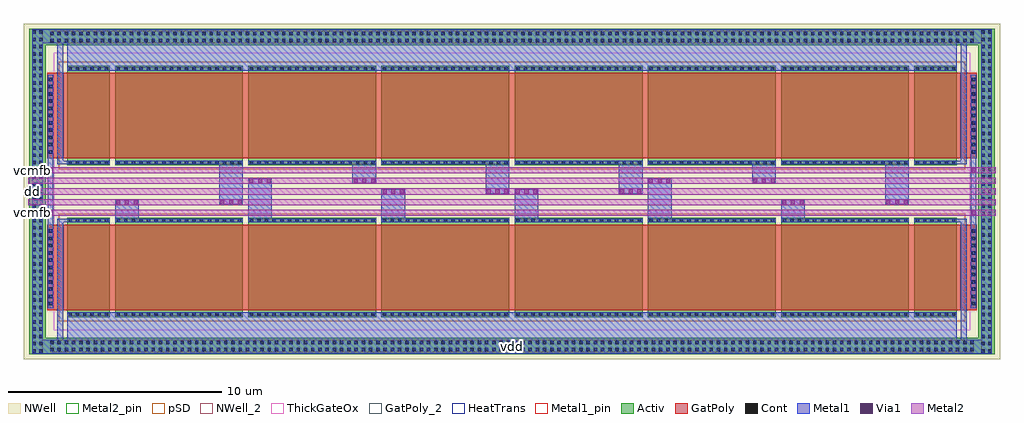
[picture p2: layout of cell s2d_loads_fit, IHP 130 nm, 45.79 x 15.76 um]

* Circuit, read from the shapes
.subckt s2d_loads_fit dd ln lp vcmfb vdd
XM1 vdd vcmfb vdd vdd sg13_hv_pmos w=2u l=4u m=4
XM2 lp vcmfb vdd vdd sg13_hv_pmos w=6u l=4u m=4
XM3 ln vcmfb vdd vdd sg13_hv_pmos w=6u l=4u m=4
XM4 dd vcmfb vdd vdd sg13_hv_pmos w=6u l=4u m=4
.ends

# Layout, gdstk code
from math import pi, radians
import gdstk
lib = gdstk.Library(unit=1e-6, precision=1e-09)
def R(c, l, rs):  # rectangles x0, y0, x1, y1
    for r in rs: c.add(gdstk.rectangle(r[:2], r[2:], *l))
def A(c, l, x, y, w, h, nx, ny, dx, dy):  # array of equal rectangles
    R(c, l, [(x+i*dx, y+j*dy, x+i*dx+w, y+j*dy+h) for i in range(nx) for j in range(ny)])
Activ = (1, 0)
GatPoly = (5, 0)
GatPoly_2 = (5, 2)
Cont = (6, 0)
Metal1 = (8, 0)
Metal1_pin = (8, 2)
Metal2 = (10, 0)
Metal2_pin = (10, 2)
pSD = (14, 0)
Via1 = (19, 0)
NWell = (31, 0)
NWell_2 = (31, 2)
ThickGateOx = (44, 0)
HeatTrans = (51, 0)

pmoshv_2 = lib.new_cell('pmosHV$2')
R(pmoshv_2, Activ, [(0,0,0.3,0.3), (0,0,4.68,6), (4.38,0,4.68,0.3)])
R(pmoshv_2, GatPoly, [(0.34,-0.18,4.34,6.18)])
R(pmoshv_2, GatPoly_2, [(0.34,-0.18,4.34,6.18)])
A(pmoshv_2, Cont, 0.07, 0.07, 0.16, 0.16, 1, 4, 0, 0.355)
A(pmoshv_2, Cont, 4.45, 0.07, 0.16, 0.16, 1, 4, 0, 0.355)
A(pmoshv_2, Cont, 0.07, 1.495, 0.16, 0.16, 1, 4, 0, 0.355)
A(pmoshv_2, Cont, 4.45, 1.495, 0.16, 0.16, 1, 4, 0, 0.355)
A(pmoshv_2, Cont, 0.07, 2.92, 0.16, 0.16, 1, 4, 0, 0.355)
A(pmoshv_2, Cont, 4.45, 2.92, 0.16, 0.16, 1, 4, 0, 0.355)
A(pmoshv_2, Cont, 0.07, 4.345, 0.16, 0.16, 1, 4, 0, 0.355)
A(pmoshv_2, Cont, 4.45, 4.345, 0.16, 0.16, 1, 4, 0, 0.355)
R(pmoshv_2, Cont, [(0.07,5.77,0.23,5.93), (4.45,5.77,4.61,5.93)])
R(pmoshv_2, Metal1, [(0.07,0,0.23,6), (4.45,0,4.61,6)])
R(pmoshv_2, Metal1_pin, [(0.07,0,0.23,6), (4.45,0,4.61,6)])
R(pmoshv_2, pSD, [(-0.18,-0.4,4.86,6.4)])
R(pmoshv_2, NWell, [(-0.62,-0.62,5.3,6.62)])
R(pmoshv_2, ThickGateOx, [(-0.62,-0.62,5.3,6.62)])
R(pmoshv_2, HeatTrans, [(0.34,-0.18,4.34,6.18)])
pmoshv_2.add(gdstk.Label('pmosHV', (2.34,3), layer=63, texttype=0))
pmoshv_2.add(gdstk.Label('pmos', (2.34,3), layer=51, texttype=0))

pmoshv_15 = lib.new_cell('pmosHV$15')
R(pmoshv_15, Activ, [(0,0,0.3,0.3), (0,0,4.68,2), (4.38,0,4.68,0.3)])
R(pmoshv_15, GatPoly, [(0.34,-0.18,4.34,2.18)])
R(pmoshv_15, GatPoly_2, [(0.34,-0.18,4.34,2.18)])
A(pmoshv_15, Cont, 0.07, 0.07, 0.16, 0.16, 1, 6, 0, 0.34)
A(pmoshv_15, Cont, 4.45, 0.07, 0.16, 0.16, 1, 6, 0, 0.34)
R(pmoshv_15, Metal1, [(0.07,0,0.23,2), (4.45,0,4.61,2)])
R(pmoshv_15, Metal1_pin, [(0.07,0,0.23,2), (4.45,0,4.61,2)])
R(pmoshv_15, pSD, [(-0.18,-0.4,4.86,2.4)])
R(pmoshv_15, NWell, [(-0.62,-0.62,5.3,2.62)])
R(pmoshv_15, ThickGateOx, [(-0.62,-0.62,5.3,2.62)])
R(pmoshv_15, HeatTrans, [(0.34,-0.18,4.34,2.18)])
pmoshv_15.add(gdstk.Label('pmosHV', (2.34,1), layer=63, texttype=0))
pmoshv_15.add(gdstk.Label('pmos', (2.34,1), layer=51, texttype=0))

s2d_loads_row = lib.new_cell('s2d_loads_row')
R(s2d_loads_row, GatPoly, [(-0.93,0.34,-0.18,4.34), (41.93,0.34,42.68,4.34)])
A(s2d_loads_row, Cont, -0.86, 0.56, 0.16, 0.16, 1, 11, 0, 0.34)
A(s2d_loads_row, Cont, 42.45, 0.56, 0.16, 0.16, 1, 11, 0, 0.34)
R(s2d_loads_row, Metal1, [(0,-1.65,41.75,0.23), (-0.91,0.43,-0.65,4.25), (42.4,0.43,42.66,4.25)])
R(s2d_loads_row, Metal1_pin, [(0,-1.65,41.75,-1.05), (-0.91,0.43,-0.65,4.25), (42.4,0.43,42.66,4.25)])
r = gdstk.Reference(pmoshv_2, (2.25,4.68), rotation=3*pi/2); r.repetition = gdstk.Repetition(1, 6, v1=(0,0), v2=(6.25,0)); s2d_loads_row.add(r)
s2d_loads_row.add(gdstk.Reference(pmoshv_15, (0,4.68), rotation=3*pi/2))
s2d_loads_row.add(gdstk.Reference(pmoshv_15, (39.75,4.68), rotation=3*pi/2))
s2d_loads_row.add(gdstk.Label('dummy', (1,2.34), layer=63, texttype=0))
s2d_loads_row.add(gdstk.Label('LP', (5.25,2.34), layer=63, texttype=0))
s2d_loads_row.add(gdstk.Label('LN', (11.5,2.34), layer=63, texttype=0))
s2d_loads_row.add(gdstk.Label('D', (17.75,2.34), layer=63, texttype=0))
s2d_loads_row.add(gdstk.Label('D', (24,2.34), layer=63, texttype=0))
s2d_loads_row.add(gdstk.Label('LN', (30.25,2.34), layer=63, texttype=0))
s2d_loads_row.add(gdstk.Label('LP', (36.5,2.34), layer=63, texttype=0))
s2d_loads_row.add(gdstk.Label('dummy', (40.75,2.34), layer=63, texttype=0))
s2d_loads_row.add(gdstk.Label('vdd', (20.875,-1.35), layer=8, texttype=25))
s2d_loads_row.add(gdstk.Label('vcmfb', (-0.78,2.34), layer=8, texttype=25))
s2d_loads_row.add(gdstk.Label('vcmfb', (42.53,2.34), layer=8, texttype=25))

ntap1_19_1 = lib.new_cell('ntap1$19$1')
R(ntap1_19_1, Activ, [(0,0,43.75,0.78)])
A(ntap1_19_1, Cont, 0.205, 0.14, 0.16, 0.16, 128, 2, 0.34, 0.34)
R(ntap1_19_1, Metal1, [(0.205,0.09,43.545,0.69)])
R(ntap1_19_1, Metal1_pin, [(0.205,0.09,43.545,0.69), (0.205,0.14,43.545,0.64)])
R(ntap1_19_1, NWell, [(-0.24,-0.24,43.99,1.02), (0,0,43.75,0.78)])
R(ntap1_19_1, NWell_2, [(0,0,43.75,0.78)])
ntap1_19_1.add(gdstk.Label('well', (21.875,0.01), layer=63, texttype=0))
ntap1_19_1.add(gdstk.Label('well', (21.875,0.01), layer=31, texttype=0))

ntap1_32 = lib.new_cell('ntap1$32')
R(ntap1_32, Activ, [(0,0,0.78,15.28)])
A(ntap1_32, Cont, 0.14, 0.08, 0.16, 0.16, 1, 45, 0, 0.34)
A(ntap1_32, Cont, 0.48, 0.08, 0.16, 0.16, 1, 45, 0, 0.34)
R(ntap1_32, Metal1, [(0.14,0.03,0.64,15.25)])
R(ntap1_32, Metal1_pin, [(0.14,0.03,0.64,15.25), (0.14,0.08,0.64,15.2)])
R(ntap1_32, NWell, [(-0.24,-0.24,1.02,15.52), (0,0,0.78,15.28)])
R(ntap1_32, NWell_2, [(0,0,0.78,15.28)])
ntap1_32.add(gdstk.Label('well', (0.39,0.01), layer=63, texttype=0))
ntap1_32.add(gdstk.Label('well', (0.39,0.01), layer=31, texttype=0))

s2d_loads_wiring = lib.new_cell('s2d_loads_wiring')
R(s2d_loads_wiring, Metal1, [(-1.64,-1.71,43.39,-1.65), (-1.24,-1.65,-0.695,-1.05), (42.445,-1.65,42.99,-1.05), (-0.47,-1.15,-0.18,4.61), (41.93,-1.15,42.22,4.61), (-0.91,4.15,-0.65,7.65), (42.4,4.15,42.66,7.65), (-0.47,4.45,0.1,4.61), (2.25,4.45,3.36,5.505), (8.5,4.45,9.61,6.505), (14.75,4.45,15.86,6.005), (21,4.45,22.11,6.005), (27.25,4.45,28.36,6.505), (33.5,4.45,34.61,5.505), (41.65,4.45,42.22,4.61), (7.14,5.295,8.25,7.35), (38.39,5.295,39.5,7.35), (19.64,5.795,20.75,7.35), (25.89,5.795,27,7.35), (13.39,6.295,14.5,7.35), (32.14,6.295,33.25,7.35), (-0.47,7.19,-0.18,12.95), (-0.47,7.19,0.1,7.35), (41.65,7.19,42.22,7.35), (41.93,7.19,42.22,12.95), (-1.24,12.85,-0.695,13.45), (42.445,12.85,42.99,13.45), (-1.64,13.45,43.39,13.51)])
A(s2d_loads_wiring, Via1, 2.3, 5.305, 0.19, 0.19, 3, 1, 0.41, 0)
A(s2d_loads_wiring, Via1, 7.19, 5.305, 0.19, 0.19, 3, 1, 0.41, 0)
A(s2d_loads_wiring, Via1, 33.55, 5.305, 0.19, 0.19, 3, 1, 0.41, 0)
A(s2d_loads_wiring, Via1, 38.44, 5.305, 0.19, 0.19, 3, 1, 0.41, 0)
A(s2d_loads_wiring, Via1, 14.8, 5.805, 0.19, 0.19, 3, 1, 0.41, 0)
A(s2d_loads_wiring, Via1, 19.69, 5.805, 0.19, 0.19, 3, 1, 0.41, 0)
A(s2d_loads_wiring, Via1, 21.05, 5.805, 0.19, 0.19, 3, 1, 0.41, 0)
A(s2d_loads_wiring, Via1, 25.94, 5.805, 0.19, 0.19, 3, 1, 0.41, 0)
A(s2d_loads_wiring, Via1, 8.55, 6.305, 0.19, 0.19, 3, 1, 0.41, 0)
A(s2d_loads_wiring, Via1, 13.44, 6.305, 0.19, 0.19, 3, 1, 0.41, 0)
A(s2d_loads_wiring, Via1, 27.3, 6.305, 0.19, 0.19, 3, 1, 0.41, 0)
A(s2d_loads_wiring, Via1, 32.19, 6.305, 0.19, 0.19, 3, 1, 0.41, 0)
R(s2d_loads_wiring, Via1, [(-0.875,4.805,-0.685,4.995), (42.435,4.805,42.625,4.995), (-0.875,6.805,-0.685,6.995), (42.435,6.805,42.625,6.995)])
R(s2d_loads_wiring, NWell, [(-2.02,-1.98,43.77,13.78)])
R(s2d_loads_wiring, ThickGateOx, [(-0.62,-0.62,42.37,12.42)])
s2d_loads_wiring.add(gdstk.FlexPath([(-1.665,4.9),(43.415,4.9)], 0.29, ends="extended", simple_path=True, layer=10, datatype=0))  # Metal2
s2d_loads_wiring.add(gdstk.FlexPath([(-1.665,5.4),(43.415,5.4)], 0.29, ends="extended", simple_path=True, layer=10, datatype=0))  # Metal2
s2d_loads_wiring.add(gdstk.FlexPath([(-1.665,5.9),(43.415,5.9)], 0.29, ends="extended", simple_path=True, layer=10, datatype=0))  # Metal2
s2d_loads_wiring.add(gdstk.FlexPath([(-1.665,6.4),(43.415,6.4)], 0.29, ends="extended", simple_path=True, layer=10, datatype=0))  # Metal2
s2d_loads_wiring.add(gdstk.FlexPath([(-1.665,6.9),(43.415,6.9)], 0.29, ends="extended", simple_path=True, layer=10, datatype=0))  # Metal2
s2d_loads_wiring.add(gdstk.Reference(ntap1_19_1, (-1,12.76)))
s2d_loads_wiring.add(gdstk.Reference(ntap1_19_1, (-1,-1.74)))
s2d_loads_wiring.add(gdstk.Reference(ntap1_32, (-1.78,-1.74)))
s2d_loads_wiring.add(gdstk.Reference(ntap1_32, (42.75,-1.74)))

s2d_loads_fit = lib.new_cell('s2d_loads_fit')
R(s2d_loads_fit, Metal1_pin, [(-0.795,-1.65,42.545,-1.05)])
A(s2d_loads_fit, Metal2_pin, -1.81, 4.755, 0.4, 0.29, 1, 5, 0, 0.5)
s2d_loads_fit.add(gdstk.Reference(s2d_loads_row, (0,0)))
s2d_loads_fit.add(gdstk.Reference(s2d_loads_row, (41.75,11.8), rotation=pi))
s2d_loads_fit.add(gdstk.Reference(s2d_loads_wiring, (0,0)))
s2d_loads_fit.add(gdstk.Label('vdd', (20.875,-1.35), layer=8, texttype=25))
s2d_loads_fit.add(gdstk.Label('vcmfb', (-1.61,4.9), layer=10, texttype=25))
s2d_loads_fit.add(gdstk.Label('lp', (-1.61,5.4), layer=10, texttype=25))
s2d_loads_fit.add(gdstk.Label('dd', (-1.61,5.9), layer=10, texttype=25))
s2d_loads_fit.add(gdstk.Label('ln', (-1.61,6.4), layer=10, texttype=25))
s2d_loads_fit.add(gdstk.Label('vcmfb', (-1.61,6.9), layer=10, texttype=25))

lib.write_gds('s2d_loads_fit.gds')
